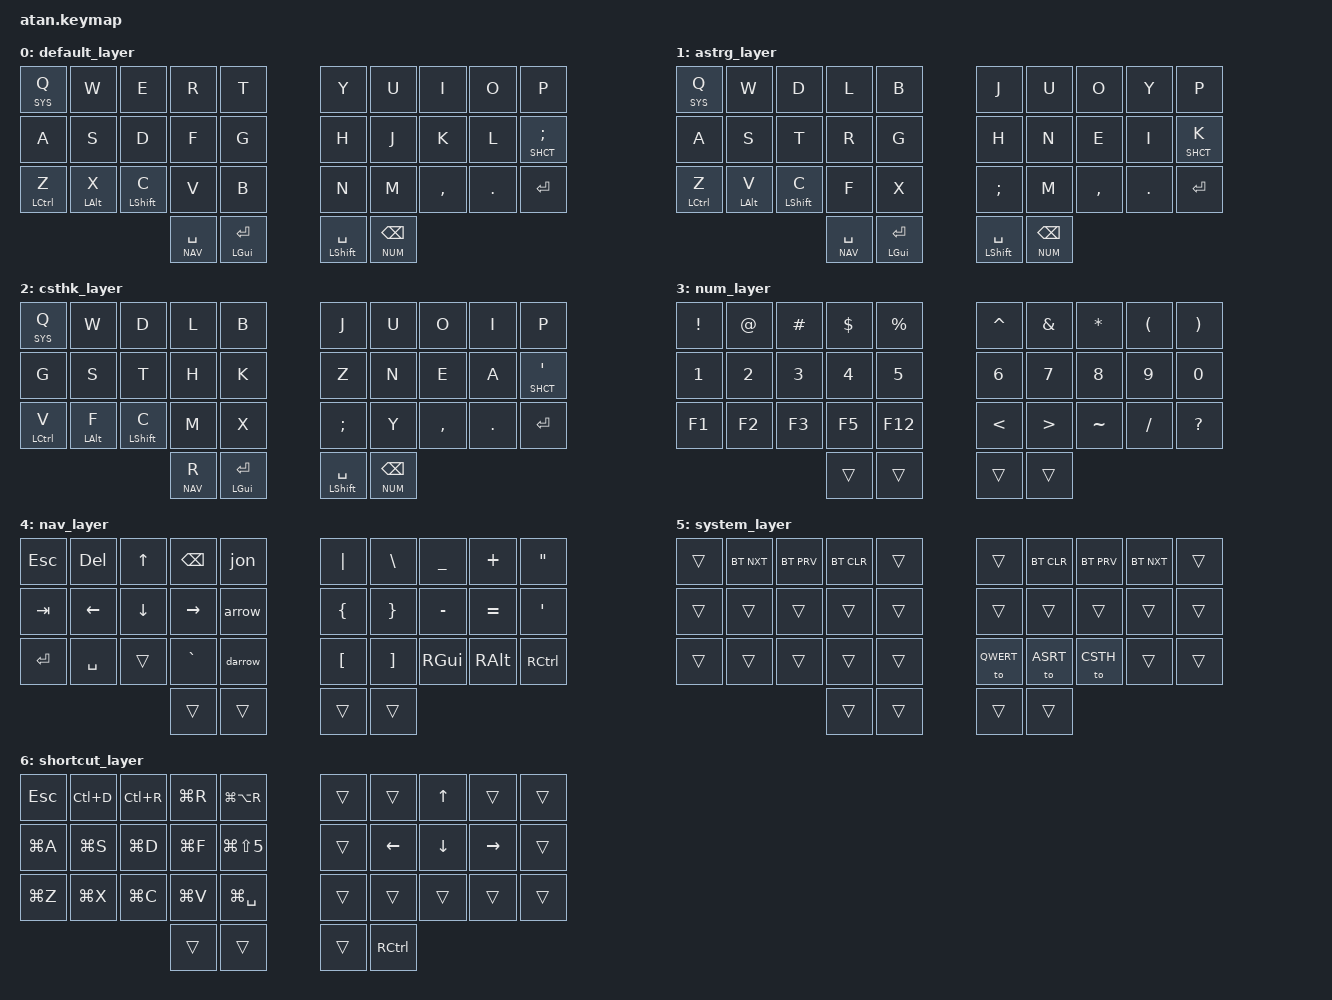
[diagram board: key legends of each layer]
#include <behaviors.dtsi>
#include <dt-bindings/zmk/keys.h>
#include <dt-bindings/zmk/bt.h>

#define QWERT 0
#define ASRT 1
#define CSTH 2
#define NUM 3
#define NAV 4
#define SYS 5
#define SHCT 6


/ {

    behaviors {
        hm: homerow_mods {
            compatible = "zmk,behavior-hold-tap";
            #binding-cells = <2>;
            tapping-term-ms = <225>;
            flavor = "tap-preferred";
            bindings = <&kp>, <&kp>;
        };
    };

    macros {
        jon: jon {
            compatible = "zmk,behavior-macro";
            #binding-cells = <0>;
            bindings
                = <&macro_tap &kp J &kp O &kp N &kp N9 &kp N9 >
                ;
        };
        arrow: arrow {
            compatible = "zmk,behavior-macro";
            #binding-cells = <0>;
            bindings
                = <&macro_tap &kp MINUS &kp GT >
                ;
        };
        darrow: darrow {
            compatible = "zmk,behavior-macro";
            #binding-cells = <0>;
            bindings
                = <&macro_tap &kp EQUAL &kp GT >
                ;
        };
    };

    keymap {
        compatible = "zmk,keymap";

        // default_layer {
        //     bindings = <

        //         &lt SYS  F    &kp   W    &kp D   &kp  L      &kp Q                  &kp  J    &kp U   &kp O    &kp Y &kp  B
        //         &kp  C    &kp  S    &kp  T    &kp   H   &kp   K                      &kp  SQT     &kp  N  &kp E       &kp I     &kp  A
        //         &hm LCTRL V    &hm LALT X     &hm LSHFT G  &kp M  &kp Z             &kp SEMI &kp  P    &kp  COMMA  &kp DOT     &kp   RET
        //                          &lt NAV  R     &hm LGUI    RET          &hm LSHFT SPACE   &lt NUM BKSP
        //     >;
        // };

        // default_layer {
        //     bindings = <

        //         &lt SYS  W    &kp  L    &kp D  &kp  F    &kp Q                  &kp  J    &kp U   &kp O    &kp Y &kp  P
        //         &kp  R    &kp  S    &kp  T    &kp   H   &kp   B                     &kp COMMA    &kp A   &kp E       &kp I     &kp    N
        //         &hm LCTRL X     &hm LALT  V    &hm LSHFT C  &kp  M   &kp Z             &kp SEMI &kp G    &kp   K  &kp DOT     &kp   RET
        //                          &lt NAV  SPACE     &hm LGUI    RET          &hm LSHFT SPACE   &lt NUM BKSP
        //     >;
        // };

        // default_layer {
        //     bindings = <

        //         &lt SYS F     &kp D  &kp C   &kp  L     &kp Q                  &kp  J    &kp U   &kp O    &kp Y &kp  P
        //         &kp   N   &kp  S    &kp  T    &kp  R    &kp  X                     &kp K    &kp A   &kp E       &kp I     &kp  H
        //         &hm LCTRL  B     &hm LALT  V    &hm LSHFT M  &kp   W   &kp Z             &kp SEMI &kp G    &kp  COMMA   &kp DOT     &kp   RET
        //                          &lt NAV  SPACE     &hm LGUI    RET          &hm LSHFT SPACE   &lt NUM BKSP
        //     >;
        // };

        // default_layer {
        //     bindings = <

        //         &lt SYS F   &kp  W    &kp D   &kp  L     &kp Q                  &kp  J    &kp U   &kp O    &kp Y &kp  P
        //         &kp  C     &kp  S    &kp  T    &kp  R    &kp  X                     &kp SQT   &kp  N  &kp A         &kp I     &kp  H
        //         &hm LCTRL  B     &hm LALT  V    &hm LSHFT G   &kp M    &kp Z             &kp SEMI &kp K  &kp  COMMA   &kp DOT     &kp   RET
        //                          &lt NAV  E     &hm LGUI    RET          &hm LSHFT SPACE   &lt NUM BKSP
        //     >;
        // };

        // default_layer {
        //     bindings = <

        //         &lt SYS  V  &kp  W    &kp D   &kp  L     &kp Q                  &kp  J    &kp U   &kp O    &kp Y &kp  P
        //         &kp  C     &kp  S    &kp  T    &kp  H    &kp  X                     &kp SQT   &kp  N  &kp A         &kp I     &kp   R
        //         &hm LCTRL  B     &hm LALT F     &hm LSHFT G   &kp M    &kp Z             &kp SEMI &kp K  &kp  COMMA   &kp DOT     &kp   RET
        //                          &lt NAV E      &hm LGUI    RET          &hm LSHFT SPACE   &lt NUM  BKSP
        //     >;
        // };


        // default_layer {
        //     bindings = <

        //         &lt SYS B   &kp  W    &kp D   &kp  L     &kp Q                  &kp  J    &kp U   &kp O    &kp Y &kp  P
        //         &kp R       &kp  S    &kp  T    &kp  H    &kp  X                     &kp SQT   &kp  N  &kp A         &kp I     &kp  G
        //         &hm LCTRL  V      &hm LALT F     &hm LSHFT C   &kp M    &kp Z             &kp SEMI &kp K  &kp  COMMA   &kp DOT     &kp   RET
        //                          &lt NAV E      &hm LGUI    RET          &hm LSHFT SPACE   &lt NUM  BKSP
        //     >;
        // };

        default_layer {
            bindings = <

                &lt SYS Q   &kp  W    &kp E   &kp  R    &kp T                  &kp  Y    &kp U   &kp I   &kp O &kp  P
                &kp  A     &kp  S    &kp  D    &kp F    &kp G                     &kp H   &kp J    &kp K   &kp  L  &lt SHCT SEMI
                &hm LCTRL  Z   &hm LALT X   &hm LSHFT C   &kp V    &kp B             &kp N &kp M  &kp  COMMA   &kp DOT     &kp   RET
                                 &lt NAV SPACE   &hm LGUI    RET          &hm LSHFT SPACE   &lt NUM  BKSP
            >;
        };

        astrg_layer {
            bindings = <

                &lt SYS Q   &kp  W    &kp D   &kp  L    &kp B                  &kp  J    &kp U   &kp O   &kp Y &kp P
                &kp  A     &kp  S    &kp  T    &kp  R  &kp G                     &kp H   &kp N    &kp E   &kp  I   &lt SHCT  K
                &hm LCTRL  Z   &hm LALT V   &hm LSHFT C   &kp F    &kp X             &kp SEMI &kp M  &kp  COMMA   &kp DOT     &kp   RET
                                 &lt NAV SPACE   &hm LGUI    RET          &hm LSHFT SPACE   &lt NUM  BKSP
            >;
        };

        // csthk_layer {
        //     bindings = <

        //         &lt SYS  F    &kp   W    &kp D   &kp  L      &kp Q                  &kp  J    &kp U   &kp O    &kp Y &kp  P
        //         &kp  C    &kp  S    &kp  T    &kp   H   &kp   K                      &kp  SQT     &kp  A  &kp E       &kp I     &lt SHCT  N
        //         &hm LCTRL V    &hm LALT X     &hm LSHFT G  &kp M  &kp Z             &kp SEMI &kp  B    &kp  COMMA  &kp DOT     &kp   RET
        //                          &lt NAV  R     &hm LGUI    RET          &hm LSHFT SPACE   &lt NUM BKSP
        //     >;
        // };

        csthk_layer {
            bindings = <
                &lt SYS Q   &kp   W    &kp D   &kp  L   &kp  B                &kp  J    &kp U      &kp O  &kp I    &kp  P
                &kp G     &kp  S    &kp  T    &kp   H   &kp  K                      &kp  Z    &kp N  &kp E &kp  A      &lt SHCT   SQT
                &hm LCTRL  V   &hm LALT F     &hm LSHFT C &kp M  &kp X           &kp SEMI &kp   Y   &kp  COMMA  &kp DOT     &kp   RET
                                 &lt NAV  R     &hm LGUI    RET          &hm LSHFT SPACE   &lt NUM BKSP
            >;
        };

        num_layer {
            bindings = <
                &kp EXCL   &kp AT   &kp HASH   &kp DOLLAR   &kp PERCENT           &kp CARET   &kp AMPS   &kp STAR   &kp LPAR   &kp RPAR
                &kp N1   &kp N2   &kp N3   &kp N4   &kp N5                          &kp N6   &kp N7  &kp N8   &kp N9   &kp N0
                &kp F1   &kp F2   &kp F3   &kp F5   &kp F12                     &kp LT   &kp GT   &kp TILDE   &kp FSLH   &kp QMARK
                        &trans   &trans                     &trans   &trans
            >;
        };

        nav_layer {
            bindings = <
                &kp ESC   &kp DEL   &kp UP  &kp BSPC    &jon                &kp PIPE    &kp BSLH  &kp UNDER   &kp PLUS   &kp DQT
                &kp TAB   &kp LEFT   &kp DOWN   &kp RIGHT   &arrow           &kp LBRC   &kp RBRC   &kp MINUS   &kp EQUAL    &kp SQT
                &kp RET   &kp SPACE &trans   &kp GRAVE   &darrow       &kp LBKT   &kp RBKT   &kp RGUI   &kp RALT   &kp RCTRL
                        &trans   &trans                     &trans   &trans
            >;
        };

        system_layer {
            bindings = <
                &trans   &bt BT_NXT  &bt BT_PRV  &bt BT_CLR   &trans      &trans   &bt BT_CLR  &bt BT_PRV   &bt BT_NXT  &trans
                 &trans &trans   &trans  &trans   &trans               &trans &trans   &trans  &trans   &trans
                 &trans   &trans  &trans   &trans  &trans              &to QWERT &to ASRT   &to CSTH  &trans   &trans

                        &trans   &trans                     &trans   &trans
            >;
        };

        shortcut_layer {
            bindings = <

                 &kp ESC    &kp LC(D)   &kp LC(R)   &kp LG(R)   &kp LG(LA(R))                  &trans &trans   &kp UP  &trans   &trans
                &kp LG(A)  &kp LG(S)       &kp LG(D)         &kp LG(F)   &kp LG(LS(N5))        &trans &kp LEFT   &kp DOWN   &kp RIGHT   &trans
                &kp LG(Z) &kp  LG(X)        &kp LG(C)          &kp LG(V)   &kp LG(SPACE)       &trans &trans   &trans  &trans   &trans

                        &trans   &trans                     &trans   &kp RCTRL
            >;
        };

    };
};
